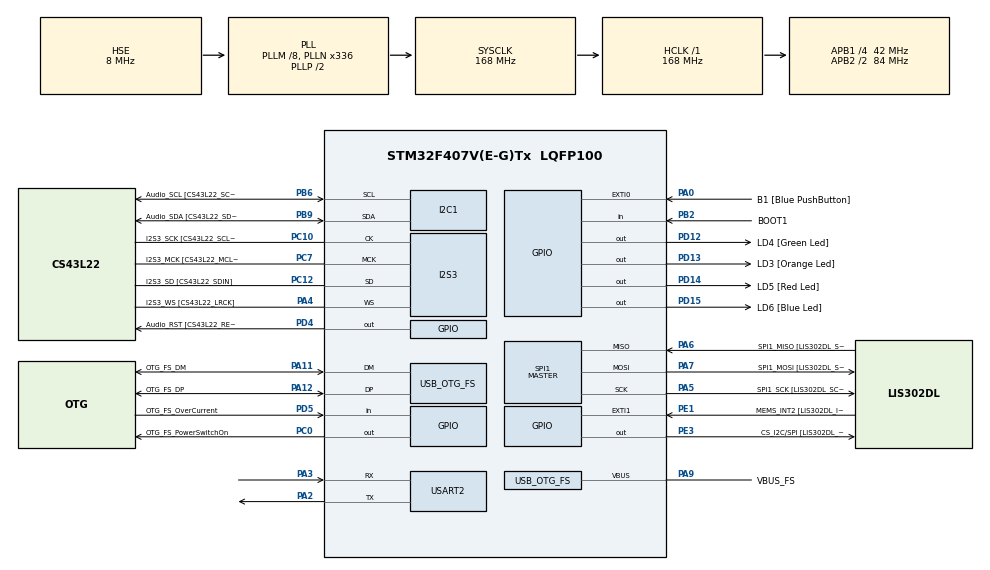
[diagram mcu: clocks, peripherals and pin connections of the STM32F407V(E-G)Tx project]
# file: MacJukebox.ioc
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PA11.GPIO_Speed=GPIO_SPEED_FREQ_LOW
Dma.SPI3_TX.0.FIFOMode=DMA_FIFOMODE_ENABLE
Dma.SPI3_TX.0.Priority=DMA_PRIORITY_HIGH
PD12.GPIO_Label=LD4 [Green Led]
PH0-OSC_IN.Signal=RCC_OSC_IN
PC10.GPIO_PuPd=GPIO_NOPULL
SPI1.VirtualType=VM_MASTER
PB10.GPIO_PuPd=GPIO_NOPULL
PA10.GPIO_PuPd=GPIO_NOPULL
PC12.Signal=I2S3_SD
PA14.GPIO_Label=SWCLK
PA6.GPIO_Label=SPI1_MISO [LIS302DL_SDO]
PB6.GPIO_Label=Audio_SCL [CS43L22_SCL]
PC15-OSC32_OUT.GPIO_Label=PC15-OSC32_OUT
PC3.GPIO_Speed=GPIO_SPEED_FREQ_LOW
RCC.SYSCLKSource=RCC_SYSCLKSOURCE_PLLCLK
PA6.GPIO_Mode=GPIO_MODE_AF_PP
Dma.SPI3_TX.0.FIFOThreshold=DMA_FIFO_THRESHOLD_HALFFULL
PD14.GPIO_Speed=GPIO_SPEED_FREQ_LOW
FREERTOS.configENABLE_FPU=1
PA4.Mode=Half_Duplex_Master
SPI1.Direction=SPI_DIRECTION_2LINES
I2S3.AudioFreq-Half_Duplex_Master=I2S_AUDIOFREQ_96K
PD4.Signal=GPIO_Output
RCC.APB2TimFreq_Value=168000000
PB6.Signal=I2C1_SCL
PC7.Signal=I2S3_MCK
PB6.Mode=I2C
PC3.Signal=I2S2_SD
PE1.Signal=GPXTI1
Dma.SPI3_TX.0.Direction=DMA_MEMORY_TO_PERIPH
USB_OTG_FS.phy_itface=HCD_PHY_EMBEDDED
PB2.Signal=GPIO_Input
I2S3.ErrorAudioFreq=0.88 %
PA5.GPIO_PuPd=GPIO_NOPULL
I2S3.ErrorAudioFreq-Half_Duplex_Master=0.8 %
PD5.GPIO_Mode=GPIO_MODE_INPUT
PD14.GPIO_PuPd=GPIO_NOPULL
PB2.GPIO_PuPd=GPIO_NOPULL
SPI1.CalculateBaudRate-Full_Duplex_Master=42.0 MBits/s
Mcu.Package=LQFP100
PB9.Signal=I2C1_SDA
NVIC.TimeBase=TIM7_IRQn
PD12.Signal=GPIO_Output
NVIC.TimeBaseIP=TIM7
PA10.Signal=USB_OTG_FS_ID
PB9.GPIO_PuPd=GPIO_NOPULL
RCC.APB2CLKDivider=RCC_HCLK_DIV2
RCC.APB1TimFreq_Value=84000000
PC12.GPIO_PuPd=GPIO_NOPULL
PA6.GPIO_Speed=GPIO_SPEED_FREQ_LOW
PA12.GPIO_PuPd=GPIO_NOPULL
PA4.GPIO_Label=I2S3_WS [CS43L22_LRCK]
PD15.Signal=GPIO_Output
PC0.PinState=GPIO_PIN_SET
PA5.Mode=Full_Duplex_Master
I2S3.FullDuplexMode=I2S_FULLDUPLEXMODE_DISABLE
FREERTOS.Tasks01=defaultTask,24,1024,StartDefaultTask,Default,NULL,Static,defaultTaskBuffer,defaultTaskControlBlock
PA9.GPIO_Label=VBUS_FS
PB6.GPIO_PuPd=GPIO_NOPULL
VP_USB_HOST_VS_USB_HOST_MSC_FS.Mode=MSC_FS
PA11.GPIO_Label=OTG_FS_DM
PE1.GPIO_PuPd=GPIO_NOPULL
PC0.Signal=GPIO_Output
RCC.APB1CLKDivider=RCC_HCLK_DIV4
PC14-OSC32_IN.Signal=RCC_OSC32_IN
I2S3.DataFormat=I2S_DATAFORMAT_16B
USB_HOST.USBH_HandleTypeDef-MSC_FS=hUsbHostFS
PA0-WKUP.GPIO_ModeDefaultEXTI=GPIO_MODE_EVT_RISING
PA0-WKUP.GPIO_Label=B1 [Blue PushButton]
PA0-WKUP.Signal=GPXTI0
USB_HOST0.BSP.STBoard=false
PA3.Mode=Asynchronous
PC10.GPIO_Mode=GPIO_MODE_AF_PP
PB10.GPIO_Mode=GPIO_MODE_AF_PP
PA9.Signal=USB_OTG_FS_VBUS
I2S3.VirtualMode=I2S_MODE_MASTER
Dma.SPI3_TX.0.PeriphInc=DMA_PINC_DISABLE
PC7.GPIO_PuPd=GPIO_NOPULL
PB10.Signal=I2S2_CK
PA5.Signal=SPI1_SCK
I2S3.AudioFreq=I2S_AUDIOFREQ_44K
PC12.Mode=Half_Duplex_Master
PE1.GPIO_Label=MEMS_INT2 [LIS302DL_INT2]
USB_HOST.VirtualModeFS=Msc
PA7.GPIO_Speed=GPIO_SPEED_FREQ_LOW
PB2.GPIO_Mode=GPIO_MODE_INPUT
SPI1.Mode=SPI_MODE_MASTER
PD4.GPIO_Speed=GPIO_SPEED_FREQ_LOW
PE3.GPIO_PuPd=GPIO_NOPULL
PH1-OSC_OUT.GPIO_Label=PH1-OSC_OUT
Dma.SPI3_TX.0.Instance=DMA1_Stream5
PA13.Mode=Serial_Wire
PC7.GPIO_Label=I2S3_MCK [CS43L22_MCLK]
PA4.Signal=I2S3_WS
PC12.GPIO_Mode=GPIO_MODE_AF_PP
PA5.GPIO_Label=SPI1_SCK [LIS302DL_SCL/SPC]
Dma.SPI3_TX.0.Mode=DMA_CIRCULAR
PE3.GPIO_Speed=GPIO_SPEED_FREQ_LOW
PC12.GPIO_Label=I2S3_SD [CS43L22_SDIN]
PA11.Signal=USB_OTG_FS_DM
ProjectManager.HeapSize=0x200
NVIC.PriorityGroup=NVIC_PRIORITYGROUP_4
PE3.Signal=GPIO_Output
PC3.GPIO_Label=PDM_OUT [MP45DT02_DOUT]
PA0-WKUP.GPIO_PuPd=GPIO_NOPULL
I2S3.Instance=SPI$Index
PB6.GPIO_Speed=GPIO_SPEED_FREQ_LOW
SPI1.BaudRatePrescaler-Full_Duplex_Master=SPI_BAUDRATEPRESCALER_2
USB_HOST0.BSP.mode=Output
Mcu.Family=STM32F4
PC3.GPIO_Mode=GPIO_MODE_AF_PP
Dma.SPI3_TX.0.MemInc=DMA_MINC_ENABLE
PA6.Mode=Full_Duplex_Master
RCC.CortexFreq_Value=168000000
PB10.GPIO_Speed=GPIO_SPEED_FREQ_LOW
PB6.GPIO_Mode=GPIO_MODE_AF_OD
PD15.GPIO_Speed=GPIO_SPEED_FREQ_LOW
PC10.Signal=I2S3_CK
PA7.GPIO_Mode=GPIO_MODE_AF_PP
PC0.GPIO_Label=OTG_FS_PowerSwitchOn
PA11.Mode=Host_Only
PC10.GPIO_Speed=GPIO_SPEED_FREQ_LOW
PA11.GPIO_PuPd=GPIO_NOPULL
Dma.SPI3_TX.0.PeriphDataAlignment=DMA_PDATAALIGN_HALFWORD
ProjectManager.StackSize=0x400
VP_FREERTOS_VS_CMSIS_V2.Mode=CMSIS_V2
SPI1.Mode-Full_Duplex_Master=SPI_MODE_MASTER
PD13.Signal=GPIO_Output
PA12.Signal=USB_OTG_FS_DP
RCC.HCLKFreq_Value=168000000
USB_HOST0.BSP.ip=GPIO
RCC.AHBFreq_Value=168000000
PH0-OSC_IN.Mode=HSE-External-Oscillator
PH0-OSC_IN.GPIO_Label=PH0-OSC_IN
PA9.GPIO_Mode=GPIO_MODE_INPUT
RCC.HSE_VALUE=8000000
PA4.GPIO_PuPd=GPIO_NOPULL
PA4.GPIO_Speed=GPIO_SPEED_FREQ_LOW
PA6.GPIO_PuPd=GPIO_NOPULL
PC14-OSC32_IN.Mode=LSE-External-Oscillator
PA14.Mode=Serial_Wire
PA10.GPIO_Label=OTG_FS_ID
PC7.GPIO_Mode=GPIO_MODE_AF_PP
USB_HOST.USBH_PROCESS_STACK_SIZE-MSC_FS=1024
USB_HOST0.BSP.i2creg=0
Dma.SPI3_TX.0.MemDataAlignment=DMA_MDATAALIGN_HALFWORD
PH1-OSC_OUT.Mode=HSE-External-Oscillator
USB_HOST0.BSP.i2caddr=0
PD13.GPIO_Label=LD3 [Orange Led]
PA6.Signal=SPI1_MISO
USART2.VirtualMode=VM_ASYNC
PD5.GPIO_Label=OTG_FS_OverCurrent
NVIC.OTG_FS_IRQn=true\:5\:0\:false\:false\:true\:true\:true\:true
PD15.GPIO_PuPd=GPIO_NOPULL
USB_OTG_FS.VirtualMode=Host_Only
PA10.GPIO_Speed=GPIO_SPEED_FREQ_LOW
USB_HOST0.BSP.name=Drive_VBUS_FS
PB9.GPIO_Speed=GPIO_SPEED_FREQ_LOW
PC14-OSC32_IN.GPIO_Label=PC14-OSC32_IN
PC0.GPIO_PuPd=GPIO_NOPULL
Dma.Request0=SPI3_TX
NVIC.TIM7_IRQn=true\:0\:0\:false\:false\:true\:false\:false\:true
PA12.GPIO_Speed=GPIO_SPEED_FREQ_LOW
PA3.Signal=USART2_RX
PB3.GPIO_Label=SWO
PC15-OSC32_OUT.Mode=LSE-External-Oscillator
PD12.GPIO_Speed=GPIO_SPEED_FREQ_LOW
PD15.GPIO_Label=LD6 [Blue Led]
PA7.Mode=Full_Duplex_Master
PB9.GPIO_Label=Audio_SDA [CS43L22_SDA]
PC10.GPIO_Label=I2S3_SCK [CS43L22_SCLK]
VP_SYS_VS_tim7.Mode=TIM7
USB_HOST0.BSP.solution=PC0
PC10.Mode=Half_Duplex_Master
USB_HOST.BSP.number=1
PD5.Signal=GPIO_Input
PE1.GPIO_ModeDefaultEXTI=GPIO_MODE_EVT_RISING
PA9.GPIO_PuPd=GPIO_NOPULL
PA12.GPIO_Label=OTG_FS_DP
PA10.GPIO_Mode=GPIO_MODE_AF_PP
PA13.Signal=SYS_JTMS-SWDIO
Dma.SPI3_TX.0.PeriphBurst=DMA_PBURST_SINGLE
PD4.GPIO_PuPd=GPIO_NOPULL
PA9.Mode=Activate_VBUS
PC0.GPIO_Speed=GPIO_SPEED_FREQ_LOW
I2S3.RealAudioFreq-Half_Duplex_Master=96.774 KHz
ProjectManager.TargetToolchain=Makefile
PB10.GPIO_Label=CLK_IN [MP45DT02_CLK]
NVIC.DMA1_Stream5_IRQn=true\:5\:0\:false\:false\:true\:true\:false\:true
PB9.Mode=I2C
PC15-OSC32_OUT.Signal=RCC_OSC32_OUT
PA7.GPIO_PuPd=GPIO_NOPULL
board=STM32F407G-DISC1
PD13.GPIO_Speed=GPIO_SPEED_FREQ_LOW
PC7.GPIO_Speed=GPIO_SPEED_FREQ_LOW
RCC.VCOOutputFreq_Value=336000000
PB9.GPIO_Mode=GPIO_MODE_AF_OD
PA12.GPIO_Mode=GPIO_MODE_AF_PP
PA4.GPIO_Mode=GPIO_MODE_AF_PP
RCC.APB2Freq_Value=84000000
USB_HOST0.BSP.api=Unknown
PD4.GPIO_Label=Audio_RST [CS43L22_RESET]
PH1-OSC_OUT.Signal=RCC_OSC_OUT
PD13.GPIO_PuPd=GPIO_NOPULL
PD5.GPIO_PuPd=GPIO_NOPULL
PD14.GPIO_Label=LD5 [Red Led]
Mcu.Name=STM32F407V(E-G)Tx
PA2.Signal=USART2_TX
PA13.GPIO_Label=SWDIO
PD14.Signal=GPIO_Output
RCC.48MHZClocksFreq_Value=48000000
PB3.Signal=SYS_JTDO-SWO
RCC.SYSCLKFreq_VALUE=168000000
PA7.GPIO_Label=SPI1_MOSI [LIS302DL_SDA/SDI/SDO]
PA12.Mode=Host_Only
PA14.Signal=SYS_JTCK-SWCLK
PB2.GPIO_Label=BOOT1
VP_FATFS_VS_USB.Mode=USB
RCC.HSI_VALUE=16000000
PA5.GPIO_Speed=GPIO_SPEED_FREQ_LOW
RCC.PLLQ=7
I2S3.RealAudioFreq=44.389 KHz
RCC.PLLM=8
RCC.PLLN=336
PA2.Mode=Asynchronous
PE3.GPIO_Label=CS_I2C/SPI [LIS302DL_CS_I2C/SPI]
Dma.SPI3_TX.0.MemBurst=DMA_MBURST_SINGLE
PC7.Mode=Master_Clock_Activated
PA11.GPIO_Mode=GPIO_MODE_AF_PP
RCC.APB1Freq_Value=42000000
PA5.GPIO_Mode=GPIO_MODE_AF_PP
PC12.GPIO_Speed=GPIO_SPEED_FREQ_LOW
RCC.PLLI2SN=250
PC3.GPIO_PuPd=GPIO_NOPULL
PD12.GPIO_PuPd=GPIO_NOPULL
PA7.Signal=SPI1_MOSI
USB_HOST0.BSP.instance=PC0

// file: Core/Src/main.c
/* USER CODE BEGIN Header */
/**
  ******************************************************************************
  * @file           : main.c
  * @brief          : Main program body
  ******************************************************************************
  * @attention
  *
  * <h2><center>&copy; Copyright (c) 2021 STMicroelectronics.
  * All rights reserved.</center></h2>
  *
  * This software component is licensed by ST under Ultimate Liberty license
  * SLA0044, the "License"; You may not use this file except in compliance with
  * the License. You may obtain a copy of the License at:
  *                             www.st.com/SLA0044
  *
  ******************************************************************************
  */
/* USER CODE END Header */
#include "main.h"
#include "cmsis_os.h"
#include "fatfs.h"
#include "usb_host.h"

/* USER CODE BEGIN Includes */
#include "codec.h"
#include "mp3player.h"

/* USER CODE END Includes */

typedef StaticTask_t osStaticThreadDef_t;

I2C_HandleTypeDef hi2c1;

I2S_HandleTypeDef hi2s3;
DMA_HandleTypeDef hdma_spi3_tx;

SPI_HandleTypeDef hspi1;

UART_HandleTypeDef huart2;

/* Definitions for defaultTask */
osThreadId_t defaultTaskHandle;
uint32_t defaultTaskBuffer[ 1024 ];
osStaticThreadDef_t defaultTaskControlBlock;
const osThreadAttr_t defaultTask_attributes = {
  .name = "defaultTask",
  .stack_mem = &defaultTaskBuffer[0],
  .stack_size = sizeof(defaultTaskBuffer),
  .cb_mem = &defaultTaskControlBlock,
  .cb_size = sizeof(defaultTaskControlBlock),
  .priority = (osPriority_t) osPriorityNormal,
};

void SystemClock_Config(void);
static void MX_GPIO_Init(void);
static void MX_DMA_Init(void);
static void MX_I2C1_Init(void);
static void MX_I2S3_Init(void);
static void MX_SPI1_Init(void);
static void MX_USART2_UART_Init(void);
void StartDefaultTask(void *argument);

int main(void)
{

  /* MCU Configuration--------------------------------------------------------*/

  /* Reset of all peripherals, Initializes the Flash interface and the Systick. */
  HAL_Init();

  /* Configure the system clock */
  SystemClock_Config();

  /* Initialize all configured peripherals */
  MX_GPIO_Init();
  MX_DMA_Init();
  MX_I2C1_Init();
  MX_I2S3_Init();
  MX_SPI1_Init();
  MX_FATFS_Init();
  MX_USART2_UART_Init();

  /* Init scheduler */
  osKernelInitialize();

  /* Create the thread(s) */
  /* creation of defaultTask */
  defaultTaskHandle = osThreadNew(StartDefaultTask, NULL, &defaultTask_attributes);

  /* Start scheduler */
  osKernelStart();

  /* We should never get here as control is now taken by the scheduler */
  /* Infinite loop */
  while (1)
  {

  }
}

void SystemClock_Config(void)
{
  RCC_OscInitTypeDef RCC_OscInitStruct = {0};
  RCC_ClkInitTypeDef RCC_ClkInitStruct = {0};
  RCC_PeriphCLKInitTypeDef PeriphClkInitStruct = {0};

  /** Configure the main internal regulator output voltage
  */
  __HAL_RCC_PWR_CLK_ENABLE();
  __HAL_PWR_VOLTAGESCALING_CONFIG(PWR_REGULATOR_VOLTAGE_SCALE1);
  /** Initializes the RCC Oscillators according to the specified parameters
  * in the RCC_OscInitTypeDef structure.
  */
  RCC_OscInitStruct.OscillatorType = RCC_OSCILLATORTYPE_HSE;
  RCC_OscInitStruct.HSEState = RCC_HSE_ON;
  RCC_OscInitStruct.PLL.PLLState = RCC_PLL_ON;
  RCC_OscInitStruct.PLL.PLLSource = RCC_PLLSOURCE_HSE;
  RCC_OscInitStruct.PLL.PLLM = 8;
  RCC_OscInitStruct.PLL.PLLN = 336;
  RCC_OscInitStruct.PLL.PLLP = RCC_PLLP_DIV2;
  RCC_OscInitStruct.PLL.PLLQ = 7;
  if (HAL_RCC_OscConfig(&RCC_OscInitStruct) != HAL_OK)
  {
    Error_Handler();
  }
  /** Initializes the CPU, AHB and APB buses clocks
  */
  RCC_ClkInitStruct.ClockType = RCC_CLOCKTYPE_HCLK|RCC_CLOCKTYPE_SYSCLK
                              |RCC_CLOCKTYPE_PCLK1|RCC_CLOCKTYPE_PCLK2;
  RCC_ClkInitStruct.SYSCLKSource = RCC_SYSCLKSOURCE_PLLCLK;
  RCC_ClkInitStruct.AHBCLKDivider = RCC_SYSCLK_DIV1;
  RCC_ClkInitStruct.APB1CLKDivider = RCC_HCLK_DIV4;
  RCC_ClkInitStruct.APB2CLKDivider = RCC_HCLK_DIV2;

  if (HAL_RCC_ClockConfig(&RCC_ClkInitStruct, FLASH_LATENCY_5) != HAL_OK)
  {
    Error_Handler();
  }
  PeriphClkInitStruct.PeriphClockSelection = RCC_PERIPHCLK_I2S;
  PeriphClkInitStruct.PLLI2S.PLLI2SN = 250;
  PeriphClkInitStruct.PLLI2S.PLLI2SR = 2;
  if (HAL_RCCEx_PeriphCLKConfig(&PeriphClkInitStruct) != HAL_OK)
  {
    Error_Handler();
  }
}

static void MX_I2C1_Init(void)
{

  hi2c1.Instance = I2C1;
  hi2c1.Init.ClockSpeed = 100000;
  hi2c1.Init.DutyCycle = I2C_DUTYCYCLE_2;
  hi2c1.Init.OwnAddress1 = 0;
  hi2c1.Init.AddressingMode = I2C_ADDRESSINGMODE_7BIT;
  hi2c1.Init.DualAddressMode = I2C_DUALADDRESS_DISABLE;
  hi2c1.Init.OwnAddress2 = 0;
  hi2c1.Init.GeneralCallMode = I2C_GENERALCALL_DISABLE;
  hi2c1.Init.NoStretchMode = I2C_NOSTRETCH_DISABLE;
  if (HAL_I2C_Init(&hi2c1) != HAL_OK)
  {
    Error_Handler();
  }

}

static void MX_I2S3_Init(void)
{

  hi2s3.Instance = SPI3;
  hi2s3.Init.Mode = I2S_MODE_MASTER_TX;
  hi2s3.Init.Standard = I2S_STANDARD_PHILIPS;
  hi2s3.Init.DataFormat = I2S_DATAFORMAT_16B;
  hi2s3.Init.MCLKOutput = I2S_MCLKOUTPUT_ENABLE;
  hi2s3.Init.AudioFreq = I2S_AUDIOFREQ_44K;
  hi2s3.Init.CPOL = I2S_CPOL_LOW;
  hi2s3.Init.ClockSource = I2S_CLOCK_PLL;
  hi2s3.Init.FullDuplexMode = I2S_FULLDUPLEXMODE_DISABLE;
  if (HAL_I2S_Init(&hi2s3) != HAL_OK)
  {
    Error_Handler();
  }

}

static void MX_SPI1_Init(void)
{

  /* SPI1 parameter configuration*/
  hspi1.Instance = SPI1;
  hspi1.Init.Mode = SPI_MODE_MASTER;
  hspi1.Init.Direction = SPI_DIRECTION_2LINES;
  hspi1.Init.DataSize = SPI_DATASIZE_8BIT;
  hspi1.Init.CLKPolarity = SPI_POLARITY_LOW;
  hspi1.Init.CLKPhase = SPI_PHASE_1EDGE;
  hspi1.Init.NSS = SPI_NSS_SOFT;
  hspi1.Init.BaudRatePrescaler = SPI_BAUDRATEPRESCALER_2;
  hspi1.Init.FirstBit = SPI_FIRSTBIT_MSB;
  hspi1.Init.TIMode = SPI_TIMODE_DISABLE;
  hspi1.Init.CRCCalculation = SPI_CRCCALCULATION_DISABLE;
  hspi1.Init.CRCPolynomial = 10;
  if (HAL_SPI_Init(&hspi1) != HAL_OK)
  {
    Error_Handler();
  }

}

static void MX_USART2_UART_Init(void)
{

  huart2.Instance = USART2;
  huart2.Init.BaudRate = 115200;
  huart2.Init.WordLength = UART_WORDLENGTH_8B;
  huart2.Init.StopBits = UART_STOPBITS_1;
  huart2.Init.Parity = UART_PARITY_NONE;
  huart2.Init.Mode = UART_MODE_TX_RX;
  huart2.Init.HwFlowCtl = UART_HWCONTROL_NONE;
  huart2.Init.OverSampling = UART_OVERSAMPLING_16;
  if (HAL_UART_Init(&huart2) != HAL_OK)
  {
    Error_Handler();
  }

}

static void MX_DMA_Init(void)
{

  /* DMA controller clock enable */
  __HAL_RCC_DMA1_CLK_ENABLE();

  /* DMA interrupt init */
  /* DMA1_Stream5_IRQn interrupt configuration */
  HAL_NVIC_SetPriority(DMA1_Stream5_IRQn, 5, 0);
  HAL_NVIC_EnableIRQ(DMA1_Stream5_IRQn);

}

static void MX_GPIO_Init(void)
{
  GPIO_InitTypeDef GPIO_InitStruct = {0};

  /* GPIO Ports Clock Enable */
  __HAL_RCC_GPIOE_CLK_ENABLE();
  __HAL_RCC_GPIOC_CLK_ENABLE();
  __HAL_RCC_GPIOH_CLK_ENABLE();
  __HAL_RCC_GPIOA_CLK_ENABLE();
  __HAL_RCC_GPIOB_CLK_ENABLE();
  __HAL_RCC_GPIOD_CLK_ENABLE();

  /*Configure GPIO pin Output Level */
  HAL_GPIO_WritePin(CS_I2C_SPI_GPIO_Port, CS_I2C_SPI_Pin, GPIO_PIN_RESET);

  /*Configure GPIO pin Output Level */
  HAL_GPIO_WritePin(OTG_FS_PowerSwitchOn_GPIO_Port, OTG_FS_PowerSwitchOn_Pin, GPIO_PIN_SET);

  /*Configure GPIO pin Output Level */
  HAL_GPIO_WritePin(GPIOD, LD4_Pin|LD3_Pin|LD5_Pin|LD6_Pin
                          |Audio_RST_Pin, GPIO_PIN_RESET);

  /*Configure GPIO pin : CS_I2C_SPI_Pin */
  GPIO_InitStruct.Pin = CS_I2C_SPI_Pin;
  GPIO_InitStruct.Mode = GPIO_MODE_OUTPUT_PP;
  GPIO_InitStruct.Pull = GPIO_NOPULL;
  GPIO_InitStruct.Speed = GPIO_SPEED_FREQ_LOW;
  HAL_GPIO_Init(CS_I2C_SPI_GPIO_Port, &GPIO_InitStruct);

  /*Configure GPIO pin : OTG_FS_PowerSwitchOn_Pin */
  GPIO_InitStruct.Pin = OTG_FS_PowerSwitchOn_Pin;
  GPIO_InitStruct.Mode = GPIO_MODE_OUTPUT_PP;
  GPIO_InitStruct.Pull = GPIO_NOPULL;
  GPIO_InitStruct.Speed = GPIO_SPEED_FREQ_LOW;
  HAL_GPIO_Init(OTG_FS_PowerSwitchOn_GPIO_Port, &GPIO_InitStruct);

  /*Configure GPIO pin : PDM_OUT_Pin */
  GPIO_InitStruct.Pin = PDM_OUT_Pin;
  GPIO_InitStruct.Mode = GPIO_MODE_AF_PP;
  GPIO_InitStruct.Pull = GPIO_NOPULL;
  GPIO_InitStruct.Speed = GPIO_SPEED_FREQ_LOW;
  GPIO_InitStruct.Alternate = GPIO_AF5_SPI2;
  HAL_GPIO_Init(PDM_OUT_GPIO_Port, &GPIO_InitStruct);

  /*Configure GPIO pin : B1_Pin */
  GPIO_InitStruct.Pin = B1_Pin;
  GPIO_InitStruct.Mode = GPIO_MODE_EVT_RISING;
  GPIO_InitStruct.Pull = GPIO_NOPULL;
  HAL_GPIO_Init(B1_GPIO_Port, &GPIO_InitStruct);

  /*Configure GPIO pin : BOOT1_Pin */
  GPIO_InitStruct.Pin = BOOT1_Pin;
  GPIO_InitStruct.Mode = GPIO_MODE_INPUT;
  GPIO_InitStruct.Pull = GPIO_NOPULL;
  HAL_GPIO_Init(BOOT1_GPIO_Port, &GPIO_InitStruct);

  /*Configure GPIO pin : CLK_IN_Pin */
  GPIO_InitStruct.Pin = CLK_IN_Pin;
  GPIO_InitStruct.Mode = GPIO_MODE_AF_PP;
  GPIO_InitStruct.Pull = GPIO_NOPULL;
  GPIO_InitStruct.Speed = GPIO_SPEED_FREQ_LOW;
  GPIO_InitStruct.Alternate = GPIO_AF5_SPI2;
  HAL_GPIO_Init(CLK_IN_GPIO_Port, &GPIO_InitStruct);

  /*Configure GPIO pins : LD4_Pin LD3_Pin LD5_Pin LD6_Pin
                           Audio_RST_Pin */
  GPIO_InitStruct.Pin = LD4_Pin|LD3_Pin|LD5_Pin|LD6_Pin
                          |Audio_RST_Pin;
  GPIO_InitStruct.Mode = GPIO_MODE_OUTPUT_PP;
  GPIO_InitStruct.Pull = GPIO_NOPULL;
  GPIO_InitStruct.Speed = GPIO_SPEED_FREQ_LOW;
  HAL_GPIO_Init(GPIOD, &GPIO_InitStruct);

  /*Configure GPIO pin : OTG_FS_OverCurrent_Pin */
  GPIO_InitStruct.Pin = OTG_FS_OverCurrent_Pin;
  GPIO_InitStruct.Mode = GPIO_MODE_INPUT;
  GPIO_InitStruct.Pull = GPIO_NOPULL;
  HAL_GPIO_Init(OTG_FS_OverCurrent_GPIO_Port, &GPIO_InitStruct);

  /*Configure GPIO pin : MEMS_INT2_Pin */
  GPIO_InitStruct.Pin = MEMS_INT2_Pin;
  GPIO_InitStruct.Mode = GPIO_MODE_EVT_RISING;
  GPIO_InitStruct.Pull = GPIO_NOPULL;
  HAL_GPIO_Init(MEMS_INT2_GPIO_Port, &GPIO_InitStruct);

}

/* USER CODE BEGIN 4 */
struct MP3Player player;

/* USER CODE END 4 */

void StartDefaultTask(void *argument)
{
  /* init code for USB_HOST */
  MX_USB_HOST_Init();
  /* USER CODE BEGIN 5 */
  struct Codec codec;

  codec.i2c = &hi2c1;
  codec.i2s = &hi2s3;

  CodecInit (CS43L22, &codec);

  osThreadFlagsWait(1, osFlagsWaitAny, 60000);

  f_mount (&USBHFatFS, USBHPath, 1);

  player.task = defaultTaskHandle;
  player.codec = &codec;
  MP3PlayerInit(&player);
  MP3PlayerPlayFile(&player, "song.mp3");

  /* Infinite loop */
  for(;;)
  {
      vTaskDelay(10000);
      MP3PlayerPlayFile(&player, "song2.mp3");
      vTaskDelay(10000);
      MP3PlayerPlayFile(&player, "song.mp3");
  }
  /* USER CODE END 5 */
}

 /**
  * @brief  Period elapsed callback in non blocking mode
  * @note   This function is called  when TIM7 interrupt took place, inside
  * HAL_TIM_IRQHandler(). It makes a direct call to HAL_IncTick() to increment
  * a global variable "uwTick" used as application time base.
  * @param  htim : TIM handle
  * @retval None
  */
void HAL_TIM_PeriodElapsedCallback(TIM_HandleTypeDef *htim)
{
  if (htim->Instance == TIM7) {
    HAL_IncTick();
  }
}

void Error_Handler(void)
{
  __disable_irq();
  while (1)
  {
  }
}

/************************ (C) COPYRIGHT STMicroelectronics *****END OF FILE****/
